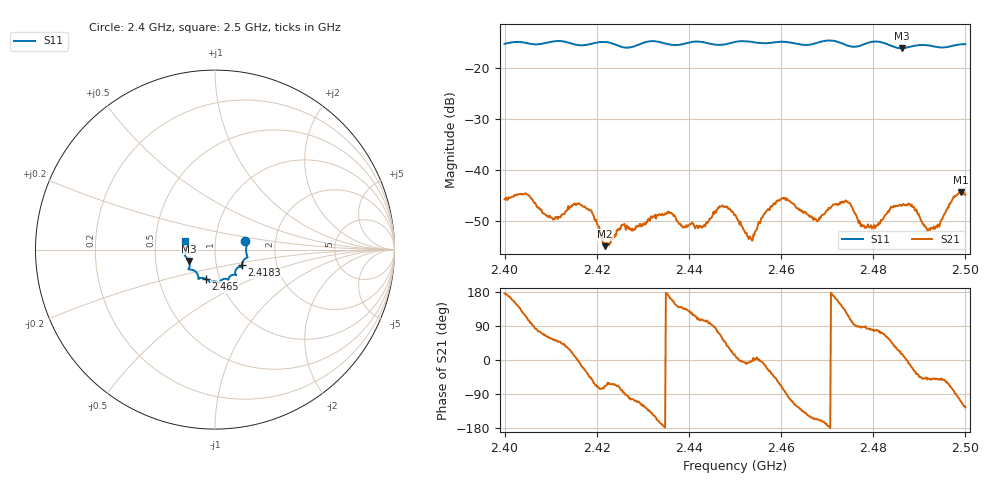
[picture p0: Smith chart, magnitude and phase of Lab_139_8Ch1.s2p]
# Hz S RI R 50
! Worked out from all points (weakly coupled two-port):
!   601 points, 2.4 GHz to 2.5 GHz, reference 50 ohm
!   highest |S21| = -44.37 dB at 2.499 GHz (marker M1); lowest = -55.0 dB at 2.4218 GHz (marker M2)
!   lowest |S11| = -16.0 dB at 2.4862 GHz (marker M3), VSWR 1.38, Z = 37.1 - j4.83 ohm
!   |S11| at or under -10 dB: start of sweep to end of sweep
!   S12 and S22 are empty: the file has one direction only
!   S11 on the Smith chart (normalised r, x): 2.4 GHz: 1.40, +0.13; 2.4183 GHz: 1.33, -0.24; 2.465 GHz: 0.86, -0.29; 2.5 GHz: 0.71, +0.07
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2.4e9  0.169 0.0458  -0.00512 0.000406  0 0  0 0
2.404833e9  0.1764 0.0207  -0.00213 0.00536  0 0  0 0
2.4105e9  0.1804 -0.0376  0.00186 0.00267  0 0  0 0
2.416667e9  0.1546 -0.0683  0.00434 -0.00124  0 0  0 0
2.418333e9  0.1498 -0.0867  0.0029 -0.00275  0 0  0 0
2.421833e9  0.1526 -0.0998  0.000677 -0.00164  0 0  0 0
2.433333e9  0.1166 -0.1414  -0.00336 -0.0012  0 0  0 0
2.4425e9  0.0732 -0.168  -0.000748 0.00272  0 0  0 0
2.446833e9  0.0455 -0.1647  0.00175 0.00401  0 0  0 0
2.45e9  0.0252 -0.1808  0.00355 0.000778  0 0  0 0
2.453333e9  0.0172 -0.1827  0.00215 -0.000154  0 0  0 0
2.459833e9  -0.0274 -0.1813  0.00205 -0.00466  0 0  0 0
2.465e9  -0.0527 -0.1624  -0.00283 -0.00267  0 0  0 0
2.466667e9  -0.0713 -0.1577  -0.00307 -0.00162  0 0  0 0
2.474333e9  -0.0972 -0.1378  -0.00253 0.0042  0 0  0 0
2.477333e9  -0.1253 -0.1128  0.000231 0.00277  0 0  0 0
2.480167e9  -0.1474 -0.1104  0.000682 0.00278  0 0  0 0
2.483333e9  -0.142 -0.096  0.00209 0.00322  0 0  0 0
2.486167e9  -0.1447 -0.0635  0.00426 0.00121  0 0  0 0
2.492167e9  -0.1662 -0.0266  0.0017 -0.00202  0 0  0 0
2.499e9  -0.1676 0.0423  -0.00193 -0.00573  0 0  0 0
2.5e9  -0.1667 0.0471  -0.0033 -0.00469  0 0  0 0
